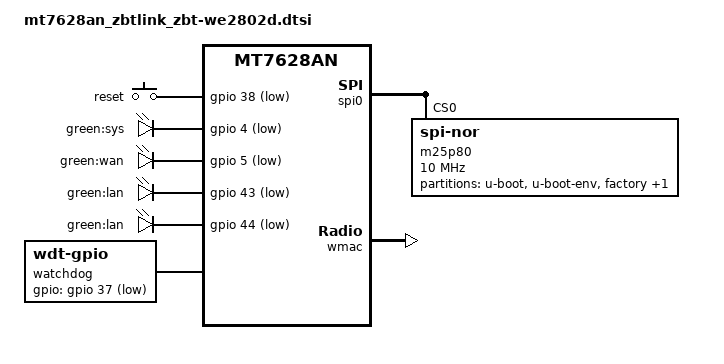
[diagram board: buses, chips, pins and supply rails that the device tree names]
#include "mt7628an.dtsi"
#include <dt-bindings/gpio/gpio.h>
#include <dt-bindings/input/input.h>
#include <dt-bindings/leds/common.h>

/ {
	compatible = "zbtlink,zbt-we2802d", "mediatek,mt7628an-soc";

	aliases {
		led-boot = &led_sys;
		led-failsafe = &led_sys;
		led-running = &led_sys;
		led-upgrade = &led_sys;
	};
	
	chosen {
		bootargs = "console=ttyS0,115200";
	};

	keys {
		compatible = "gpio-keys-polled";
		poll-interval = <20>;

		reset {
			label = "reset";
			gpios = <&gpio 38 GPIO_ACTIVE_LOW>;
			linux,code = <KEY_RESTART>;
		};
	};

	switch0: switch@10110000 {
		compatible = "mediatek,mt7628-esw";
		reg = <0x10110000 0x8000>;

		resets = <&sysc 23>, <&sysc 24>;
		reset-names = "esw", "ephy";

		ethernet-ports {
			#address-cells = <1>;
			#size-cells = <0>;

			ethernet-port@0 {
				reg = <0>;
				label = "lan";
				phy-mode = "internal";
			};

			ethernet-port@4 {
				reg = <4>;
				label = "wan";
				phy-mode = "internal";
			};

			ethernet-port@6 {
				reg = <6>;
				phy-mode = "internal";
				ethernet = <&ethernet>;

				fixed-link {
					speed = <1000>;
					full-duplex;
				};
			};
		};
	};

	leds {
		compatible = "gpio-leds";

		led_sys: sys {
			label = "green:sys";
			gpios = <&gpio 4 GPIO_ACTIVE_LOW>;
		};

		wan {
			label = "green:wan";
			gpios = <&gpio 5 GPIO_ACTIVE_LOW>;
		};

		lan {
			label = "green:lan";
			gpios = <&gpio 43 GPIO_ACTIVE_LOW>;
		};

		wlan {
			label = "green:lan";
			gpios = <&gpio 44 GPIO_ACTIVE_LOW>;
			linux-default-trigger = "phy0pt";
		};
	};


	watchdog {
		compatible = "linux,wdt-gpio";
		gpios = <&gpio 37 GPIO_ACTIVE_LOW>;
		hw_algo = "toggle";
		// hw_margin_ms is actually ~120s but driver limits it to 60s
		hw_margin_ms = <60000>;
		always-running;
	};

};


&spi0 {
	status = "okay";

	m25p80@0 {
		compatible = "jedec,spi-nor";
		reg = <0>;
		spi-max-frequency = <10000000>;

		partitions {
			compatible = "fixed-partitions";
			#address-cells = <1>;
			#size-cells = <1>;

			partition@0 {
				label = "u-boot";
				reg = <0x0 0x30000>;
				read-only;
			};

			partition@30000 {
				label = "u-boot-env";
				reg = <0x30000 0x10000>;
				read-only;
			};

			partition@40000 {
				label = "factory";
				reg = <0x40000 0x10000>;
				read-only;

				nvmem-layout {
					compatible = "fixed-layout";
					#address-cells = <1>;
					#size-cells = <1>;

					eeprom_factory_0: eeprom@0 {
						reg = <0x0 0x400>;
					};

					macaddr_factory_4: macaddr@4 {
						reg = <0x4 0x6>;
					};
				};
			};

			firmware: partition@50000 {
				compatible = "denx,uimage";
				label = "firmware";
			};
		};
	};
};

/delete-node/ &esw;

&ethernet {
	nvmem-cells = <&macaddr_factory_4>;
	nvmem-cell-names = "mac-address";
	mediatek,switch = <&switch0>;
	resets = <&sysc 21>;
	reset-names = "fe";
};

&wmac {
	status = "okay";
	nvmem-cells = <&eeprom_factory_0>;
	nvmem-cell-names = "eeprom";
	
};

&state_default {
	gpio {
		groups = "p0led_an", "p1led_an", "p2led_an", "p3led_an", "p4led_an", "wdt", "wled_an";
		function = "gpio";
	};
};

